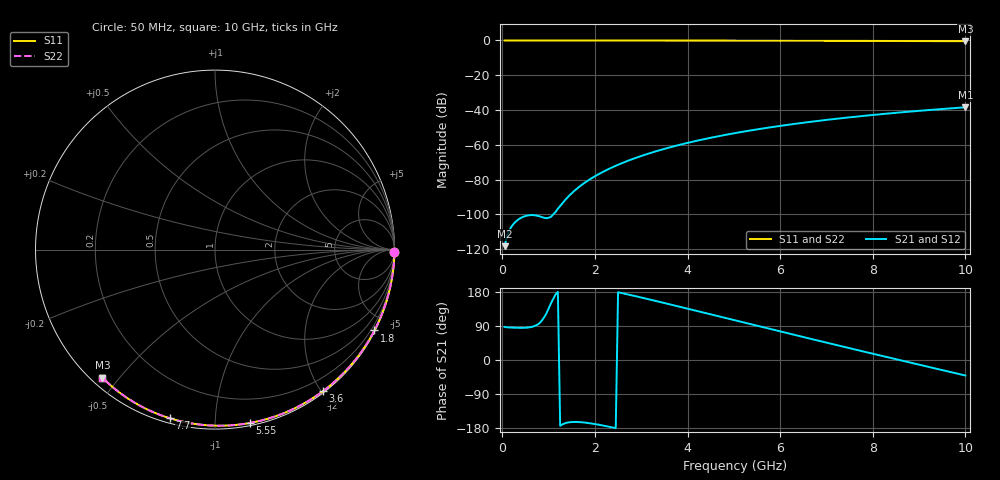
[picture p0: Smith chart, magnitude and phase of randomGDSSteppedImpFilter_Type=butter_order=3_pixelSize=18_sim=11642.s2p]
! freq	dB(S11)	phase(S11)	dB(S12)	phase(S12)
!  dB(S21)	phase(S21)	dB(S22)	phase(S22)
!S-par simulation data
#  GHz  S  DB  R 50
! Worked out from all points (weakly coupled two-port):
!   200 points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, 50 MHz to 10 GHz, reference 50 ohm
!   highest |S21| = -38.43 dB at 10 GHz (marker M1); lowest = -118.3 dB at 50 MHz (marker M2)
!   lowest |S11| = -0.4 dB at 10 GHz (marker M3), VSWR 39.11, Z = 1.54 - j22.6 ohm
!   |S11| at or under -10 dB: nowhere
!   |S22| runs from -0.4 to 0.0 dB; largest |S21 - S12| = 0
!   S11 on the Smith chart (normalised r, x): 50 MHz: open; 1.8 GHz: 0.04, -4.18; 3.6 GHz: 0.02, -2.02; 5.55 GHz: 0.02, -1.22; 7.7 GHz: 0.02, -0.77; 10 GHz: 0.03, -0.45
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0.05  -0.00 -0.8  -118.27 87.3  -118.27 87.3  -0.00 -0.8
0.9  -0.02 -13.6  -101.93 112.1  -101.93 112.1  -0.02 -13.6
1.75  -0.03 -26.2  -82.37 -164.7  -82.37 -164.7  -0.03 -26.2
1.8  -0.03 -26.9  -81.43 -165.4  -81.43 -165.4  -0.03 -26.9
1.85  -0.04 -27.6  -80.54 -166.2  -80.54 -166.2  -0.04 -27.6
1.9  -0.04 -28.4  -79.69 -167.1  -79.69 -167.1  -0.04 -28.4
2.05  -0.04 -30.6  -77.31 -170.1  -77.31 -170.1  -0.04 -30.6
2.25  -0.04 -33.5  -74.51 -174.7  -74.51 -174.7  -0.04 -33.5
2.45  -0.05 -36.4  -72.04 -179.8  -72.04 -179.8  -0.05 -36.4
2.65  -0.05 -39.2  -69.82 174.8  -69.82 174.8  -0.05 -39.2
3  -0.06 -44.2  -66.41 164.9  -66.41 164.9  -0.06 -44.2
3.4  -0.07 -49.8  -63.08 153.3  -63.08 153.3  -0.07 -49.8
3.6  -0.07 -52.6  -61.59 147.4  -61.59 147.4  -0.07 -52.6
4.3  -0.09 -62.2  -57.08 126.5  -57.08 126.5  -0.09 -62.2
5.05  -0.11 -72.1  -53.15 103.9  -53.15 103.9  -0.11 -72.1
5.55  -0.13 -78.6  -50.91 88.9  -50.91 88.9  -0.13 -78.6
6.1  -0.15 -85.5  -48.73 72.5  -48.73 72.5  -0.15 -85.5
6.7  -0.18 -92.9  -46.63 54.7  -46.63 54.7  -0.18 -92.9
7.7  -0.24 -104.9  -43.63 25.3  -43.63 25.3  -0.24 -104.9
8.35  -0.29 -112.5  -41.95 6.4  -41.95 6.4  -0.29 -112.5
9.15  -0.36 -121.7  -40.13 -16.6  -40.13 -16.6  -0.36 -121.7
10  -0.44 -131.3  -38.43 -40.9  -38.43 -40.9  -0.44 -131.3
